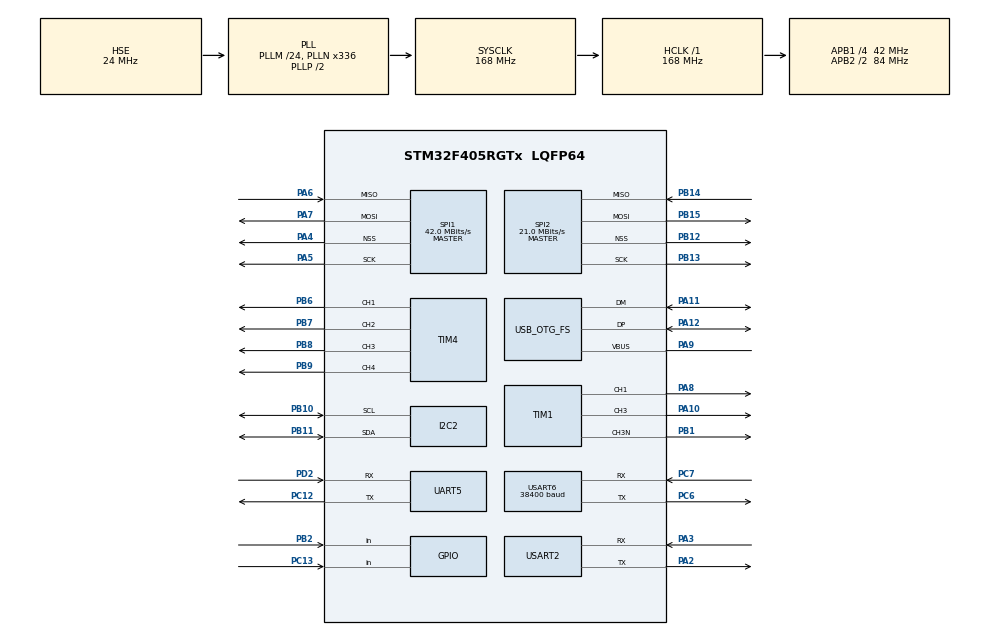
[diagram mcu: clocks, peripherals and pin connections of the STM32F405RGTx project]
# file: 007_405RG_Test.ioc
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Mcu.Family=STM32F4
PA6.Mode=Full_Duplex_Master
USB_DEVICE.CLASS_NAME_FS=CDC
PH0-OSC_IN.Signal=RCC_OSC_IN
SPI2.VirtualNSS=VM_NSSHARD
RCC.CortexFreq_Value=168000000
SPI1.VirtualType=VM_MASTER
SPI2.VirtualType=VM_MASTER
PB10.Mode=I2C
PC12.Signal=UART5_TX
Dma.UART5_RX.0.FIFOMode=DMA_FIFOMODE_DISABLE
PA11.Mode=Device_Only
USB_DEVICE.VirtualMode-CDC_FS=Cdc
PB11.Signal=I2C2_SDA
PB13.Signal=SPI2_SCK
PB15.Signal=SPI2_MOSI
RCC.SYSCLKSource=RCC_SYSCLKSOURCE_PLLCLK
ProjectManager.StackSize=0x400
PA12.Signal=USB_OTG_FS_DP
PA4.Mode=NSS_Signal_Hard_Output
SPI1.Direction=SPI_DIRECTION_2LINES
RCC.HCLKFreq_Value=168000000
RCC.APB2TimFreq_Value=168000000
PB6.Signal=S_TIM4_CH1
PC7.Signal=USART6_RX
Dma.UART5_RX.0.Priority=DMA_PRIORITY_HIGH
SPI1.CalculateBaudRate=42.0 MBits/s
RCC.AHBFreq_Value=168000000
SPI2.BaudRatePrescaler=SPI_BAUDRATEPRESCALER_2
PH0-OSC_IN.Mode=HSE-External-Oscillator
RCC.HSE_VALUE=24000000
TIM4.Channel-PWM\ Generation3\ CH3=TIM_CHANNEL_3
PB2.Signal=GPIO_Input
PC13-ANTI_TAMP.Signal=GPIO_Input
TIM1.Channel-PWM\ Generation1\ CH1=TIM_CHANNEL_1
PA14.Mode=Serial_Wire
PB14.Mode=Full_Duplex_Master
Dma.UART5_RX.0.MemDataAlignment=DMA_MDATAALIGN_BYTE
SPI2.CalculateBaudRate=21.0 MBits/s
SH.S_TIM4_CH2.0=TIM4_CH2,PWM Generation2 CH2
PB7.Signal=S_TIM4_CH2
PA8.Signal=S_TIM1_CH1
SPI1.VirtualNSS=VM_NSSHARD
PH1-OSC_OUT.Mode=HSE-External-Oscillator
Mcu.Package=LQFP64
PB9.Signal=S_TIM4_CH4
PA6.Signal=SPI1_MISO
PB1.Signal=TIM1_CH3N
PB12.Mode=NSS_Signal_Hard_Output
SPI2.Mode=SPI_MODE_MASTER
USART2.VirtualMode=VM_ASYNC
USART6.VirtualMode=VM_ASYNC
NVIC.OTG_FS_IRQn=true\:0\:0\:false\:false\:true\:false\:true
PA10.Signal=S_TIM1_CH3
USB_OTG_FS.VirtualMode=Device_Only
USART6.BaudRate=38400
RCC.APB2CLKDivider=RCC_HCLK_DIV2
SH.S_TIM4_CH1.0=TIM4_CH1,PWM Generation1 CH1
RCC.APB1TimFreq_Value=84000000
NVIC.DMA1_Stream0_IRQn=true\:0\:0\:false\:false\:true\:false\:true
SPI2.Direction=SPI_DIRECTION_2LINES
PB13.Mode=Full_Duplex_Master
TIM4.Channel-PWM\ Generation4\ CH4=TIM_CHANNEL_4
Dma.Request0=UART5_RX
SPI1.BaudRatePrescaler=SPI_BAUDRATEPRESCALER_2
PA3.Signal=USART2_RX
PA5.Mode=Full_Duplex_Master
TIM4.Channel-PWM\ Generation1\ CH1=TIM_CHANNEL_1
Dma.UART5_RX.0.MemInc=DMA_MINC_ENABLE
Dma.UART5_RX.0.Direction=DMA_PERIPH_TO_MEMORY
PA7.Mode=Full_Duplex_Master
USB_DEVICE.VirtualModeFS=Cdc_FS
SH.S_TIM4_CH4.0=TIM4_CH4,PWM Generation4 CH4
PC6.Signal=USART6_TX
UART5.VirtualMode=Asynchronous
RCC.APB1CLKDivider=RCC_HCLK_DIV4
PA13.Signal=SYS_JTMS-SWDIO
PA3.Mode=Asynchronous
PA9.Mode=Activate_VBUS
SH.S_TIM1_CH1.0=TIM1_CH1,PWM Generation1 CH1
PB11.Mode=I2C
ProjectManager.TargetToolchain=STM32CubeIDE
PC6.Mode=Asynchronous
SH.S_TIM4_CH3.0=TIM4_CH3,PWM Generation3 CH3
VP_USB_DEVICE_VS_USB_DEVICE_CDC_FS.Mode=CDC_FS
PA9.Signal=USB_OTG_FS_VBUS
TIM1.Channel-PWM\ Generation3\ CH3\ CH3N=TIM_CHANNEL_3
RCC.LSE_VALUE=32768
PB10.Signal=I2C2_SCL
PB14.Signal=SPI2_MISO
PD2.Mode=Asynchronous
PA5.Signal=SPI1_SCK
Dma.UART5_RX.0.Mode=DMA_CIRCULAR
PC12.Mode=Asynchronous
board=custom
RCC.VCOOutputFreq_Value=336000000
PB15.Mode=Full_Duplex_Master
TIM4.Channel-PWM\ Generation2\ CH2=TIM_CHANNEL_2
RCC.APB2Freq_Value=84000000
SPI1.Mode=SPI_MODE_MASTER
PH1-OSC_OUT.Signal=RCC_OSC_OUT
PA13.Mode=Serial_Wire
Dma.UART5_RX.0.PeriphDataAlignment=DMA_PDATAALIGN_BYTE
Mcu.Name=STM32F405RGTx
PA2.Signal=USART2_TX
RCC.48MHZClocksFreq_Value=48000000
PA4.Signal=SPI1_NSS
RCC.SYSCLKFreq_VALUE=168000000
PA12.Mode=Device_Only
Dma.UART5_RX.0.Instance=DMA1_Stream0
PA11.Signal=USB_OTG_FS_DM
PA14.Signal=SYS_JTCK-SWCLK
ProjectManager.HeapSize=0x200
PB1.Mode=PWM Generation3 CH3 CH3N
SH.S_TIM1_CH3.0=TIM1_CH3,PWM Generation3 CH3 CH3N
RCC.HSI_VALUE=16000000
RCC.PLLQ=7
NVIC.PriorityGroup=NVIC_PRIORITYGROUP_4
RCC.PLLM=24
RCC.PLLN=336
PA2.Mode=Asynchronous
PB8.Signal=S_TIM4_CH3
Dma.UART5_RX.0.PeriphInc=DMA_PINC_DISABLE
PC7.Mode=Asynchronous
PD2.Signal=UART5_RX
RCC.APB1Freq_Value=42000000
PB12.Signal=SPI2_NSS
PA7.Signal=SPI1_MOSI

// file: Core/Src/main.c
/* USER CODE BEGIN Header */
/**
 ******************************************************************************
 * @file           : main.c
 * @brief          : Main program body
 ******************************************************************************
 * @attention
 *
 * <h2><center>&copy; Copyright (c) 2021 STMicroelectronics.
 * All rights reserved.</center></h2>
 *
 * This software component is licensed by ST under BSD 3-Clause license,
 * the "License"; You may not use this file except in compliance with the
 * License. You may obtain a copy of the License at:
 *                        opensource.org/licenses/BSD-3-Clause
 *
 ******************************************************************************
 */
/* USER CODE END Header */
#include "main.h"
#include "dma.h"
#include "i2c.h"
#include "spi.h"
#include "tim.h"
#include "usart.h"
#include "usb_device.h"
#include "gpio.h"

/* USER CODE BEGIN Includes */
#include "fbm.h"
/* USER CODE END Includes */

void SystemClock_Config(void);

/* USER CODE BEGIN 0 */
/* Private variable */
// part of the fbm_320 driver example code
int32_t real_p, real_t, altitude;
float actual_p, actual_t;

void bit_bang() {
	GPIO_InitTypeDef GPIO_InitStruct = {0};
//    GPIO_InitStruct.Pin = GPIO_PIN_12|GPIO_PIN_13|GPIO_PIN_14|GPIO_PIN_15;
    GPIO_InitStruct.Pin = GPIO_PIN_12|GPIO_PIN_13|GPIO_PIN_15;
    GPIO_InitStruct.Mode = GPIO_MODE_OUTPUT_PP;
    GPIO_InitStruct.Pull = GPIO_PULLUP;
    HAL_GPIO_Init(GPIOB, &GPIO_InitStruct);

    GPIO_InitStruct.Pin = GPIO_PIN_14;
    GPIO_InitStruct.Mode = GPIO_MODE_INPUT;
    GPIO_InitStruct.Pull = GPIO_PULLUP;
    HAL_GPIO_Init(GPIOB, &GPIO_InitStruct);

// toggle MISO 50 times
//    HAL_GPIO_Init(GPIOB, &GPIO_InitStruct);
//	HAL_GPIO_WritePin(GPIOB, GPIO_PIN_12, 0); // CSS
//	HAL_GPIO_WritePin(GPIOB, GPIO_PIN_13, 0); // CLK
//	HAL_GPIO_WritePin(GPIOB, GPIO_PIN_14, 0); // MISO
//	HAL_GPIO_WritePin(GPIOB, GPIO_PIN_15, 0); // MOSI
//	HAL_Delay(3000);
//
//	HAL_GPIO_WritePin(GPIOB, GPIO_PIN_12, 1); // CSS
//	HAL_GPIO_WritePin(GPIOB, GPIO_PIN_13, 1); // CLK
//	HAL_GPIO_WritePin(GPIOB, GPIO_PIN_14, 1); // MISO
//	HAL_GPIO_WritePin(GPIOB, GPIO_PIN_15, 1); // MOSI
//	HAL_Delay(4);
//
//	HAL_GPIO_WritePin(GPIOB, GPIO_PIN_15, 0); // MOSI
//	HAL_GPIO_WritePin(GPIOB, GPIO_PIN_14, 0); // MISO
//	HAL_Delay(1);
//
//	HAL_GPIO_WritePin(GPIOB, GPIO_PIN_15, 1); // MOSI
//	HAL_Delay(1);
//
//	for (int i=0; i<50; i++) {
//		HAL_GPIO_WritePin(GPIOB, GPIO_PIN_14, 1); // MISO
//		HAL_Delay(50);
//		HAL_GPIO_WritePin(GPIOB, GPIO_PIN_14, 0); // MISO
//		HAL_Delay(50);
//	}
//	HAL_Delay(144);

	HAL_GPIO_WritePin(GPIOB, GPIO_PIN_13, 0); // CLK
	HAL_GPIO_WritePin(GPIOB, GPIO_PIN_15, 0); // MOSI
	HAL_GPIO_WritePin(GPIOB, GPIO_PIN_12, 1); // CSS

	HAL_Delay(1000);

	uint8_t _data_tx[] = { 0x00, 0x00, 0x81 };
	uint8_t _byte = 0;
	uint8_t _bit;

	HAL_GPIO_WritePin(GPIOB, GPIO_PIN_12, 0); // CSS

	for (uint8_t _byte_index = 0; _byte_index < 3; _byte_index++) {
		_byte = _data_tx[_byte_index];

		for (uint8_t _bit_index = 0; _bit_index < 8; _bit_index++) {
			HAL_Delay(1);
			_bit = (_byte >> (7 - _bit_index)) & 0x01;
			if (_bit == 1) {
				HAL_GPIO_WritePin(GPIOB, GPIO_PIN_15, 1); // MOSI
			} else {
				HAL_GPIO_WritePin(GPIOB, GPIO_PIN_15, 0); // MOSI
			}
			HAL_Delay(1);
			HAL_GPIO_WritePin(GPIOB, GPIO_PIN_13, 1); // CLK
			HAL_Delay(1);
			HAL_GPIO_WritePin(GPIOB, GPIO_PIN_13, 0); // CLK
		}
	}
	HAL_Delay(1);
	HAL_GPIO_WritePin(GPIOB, GPIO_PIN_12, 0); // CSS

	HAL_Delay(3000);

	_data_tx[0] = 0x80;
	_data_tx[1] = 0x6B;
	_data_tx[2] = 0x00;

	while (1) {

		HAL_GPIO_WritePin(GPIOB, GPIO_PIN_12, 0); // CSS

		for (uint8_t _byte_index = 0; _byte_index < 3; _byte_index++) {
			_byte = _data_tx[_byte_index];
			for (uint8_t _bit_index = 0; _bit_index < 8; _bit_index++) {
				HAL_Delay(1);
				_bit = (_byte >> (7 - _bit_index)) & 0x01;
				if (_bit == 1) {
					HAL_GPIO_WritePin(GPIOB, GPIO_PIN_15, 1); // MOSI
				} else {
					HAL_GPIO_WritePin(GPIOB, GPIO_PIN_15, 0); // MOSI
				}
				HAL_Delay(1);
				HAL_GPIO_WritePin(GPIOB, GPIO_PIN_13, 1); // CLK
				HAL_Delay(1);
				HAL_GPIO_WritePin(GPIOB, GPIO_PIN_13, 0); // CLK
			}
		}
		HAL_Delay(1);
		HAL_GPIO_WritePin(GPIOB, GPIO_PIN_12, 0); // CSS

		HAL_Delay(1000);
	}
} // void bit_bang() {

void do_hal() {
	uint8_t _data_tx[3];
	uint8_t _data_rx = 0;

	HAL_Delay(1000);

	_data_tx[0] = 0x00 | 0x00;
	_data_tx[1] = 0x00;
	_data_tx[2] = 0x81;

//	HAL_GPIO_WritePin(GPIOB, GPIO_PIN_12, 0); // CSS
//	HAL_Delay(1);
//	for (uint8_t _byte_index = 0; _byte_index < 3; _byte_index++) {
//		HAL_SPI_Transmit(&hspi2, &_data_tx[_byte_index], 1, 1000);
//	}
	HAL_SPI_Transmit(&hspi2, _data_tx, 3, 1000);

//	HAL_Delay(1);
//	HAL_GPIO_WritePin(GPIOB, GPIO_PIN_12, 1); // CSS

	HAL_Delay(1000);

	_data_tx[0] = 0x80 | 0x00;
	_data_tx[1] = 0x6B;

	while(1) {
//		HAL_GPIO_WritePin(GPIOB, GPIO_PIN_12, 0); // CSS
//		HAL_Delay(1);

//		for (uint8_t _byte_index = 0; _byte_index<2; _byte_index++) {
//			HAL_SPI_Transmit(&hspi2, &_data_tx[_byte_index], 1, 1000);
//			HAL_Delay(1);
//		}
		HAL_SPI_Transmit(&hspi2, _data_tx, 2, 1000);

		HAL_SPI_Receive(&hspi2, &_data_rx, 1, 100);

//		HAL_Delay(1);
//		HAL_GPIO_WritePin(GPIOB, GPIO_PIN_12, 1); // CSS

		HAL_Delay(1000);
	}
} // void do_hal() {

void read_pressure() {
	HAL_StatusTypeDef _status = HAL_OK;
	uint8_t _data_tx[3];
	uint8_t _data_rx[3];

	_data_tx[0] = 0x00;
	_data_tx[1] = 0xf4;
	_data_tx[2] = 0xf4;

	HAL_GPIO_WritePin(GPIOB, GPIO_PIN_12, 0); // CSS
	HAL_Delay(1);
	_status = HAL_SPI_Transmit(&hspi2, _data_tx, 3, 1000);
	HAL_Delay(1);
	HAL_GPIO_WritePin(GPIOB, GPIO_PIN_12, 1); // CSS

	HAL_Delay(7);

	_data_tx[0] = 0xc0;
	_data_tx[1] = 0xf8;

	HAL_GPIO_WritePin(GPIOB, GPIO_PIN_12, 0); // CSS
	HAL_Delay(1);

	_status = HAL_SPI_Transmit(&hspi2, _data_tx, 2, 1000);

	_status = HAL_SPI_Receive(&hspi2, _data_rx, 3, 1000);

	HAL_Delay(1);
	HAL_GPIO_WritePin(GPIOB, GPIO_PIN_12, 1); // CSS
} // void read_pressure() {

void read_temperature() {
	HAL_StatusTypeDef _status = HAL_OK;
	uint8_t _data_tx[3];
	uint8_t _data_rx[3];

	_data_tx[0] = 0x00;
	_data_tx[1] = 0xf4;
	_data_tx[2] = 0x2e;

	HAL_GPIO_WritePin(GPIOB, GPIO_PIN_12, 0); // CSS
	HAL_Delay(1);

	_status = HAL_SPI_Transmit(&hspi2, _data_tx, 3, 1000);

	HAL_Delay(1);
	HAL_GPIO_WritePin(GPIOB, GPIO_PIN_12, 1); // CSS

//	HAL_Delay(2);

	_data_tx[0] = 0xc0;
	_data_tx[1] = 0xf8;

	HAL_GPIO_WritePin(GPIOB, GPIO_PIN_12, 0); // CSS
	HAL_Delay(1);

	_status = HAL_SPI_Transmit(&hspi2, _data_tx, 2, 1000);

	_status = HAL_SPI_Receive(&hspi2, _data_rx, 3, 1000);

	HAL_Delay(1);
	HAL_GPIO_WritePin(GPIOB, GPIO_PIN_12, 1); // CSS
} // void read_temperature() {

void spi_bang() {
	HAL_StatusTypeDef _status = HAL_OK;
	uint8_t _data_tx[3];
	uint8_t _data_rx[3];

	_data_tx[0] = 0x00;
	_data_tx[1] = 0x00;
	_data_tx[2] = 0x81;

	HAL_GPIO_WritePin(GPIOB, GPIO_PIN_12, 0); // CSS
	HAL_Delay(1);
	_status = HAL_SPI_Transmit(&hspi2, _data_tx, 3, 1000);
	HAL_Delay(1);
	HAL_GPIO_WritePin(GPIOB, GPIO_PIN_12, 1); // CSS

	HAL_Delay(200);

//	_data_tx[0] = 0x00;
//	_data_tx[1] = 0xa6;
//	_data_tx[2] = 0x7d; // 0xa9;
//
//	HAL_GPIO_WritePin(GPIOB, GPIO_PIN_12, 0); // CSS
//	HAL_Delay(1);
//	_status = HAL_SPI_Transmit(&hspi2, _data_tx, 3, 1000);
//	HAL_Delay(1);
//	HAL_GPIO_WritePin(GPIOB, GPIO_PIN_12, 1); // CSS
//
//	HAL_Delay(200);

	_data_tx[0] = 0x80;
	_data_tx[1] = 0xa6;
	uint8_t _byte_tx = 0;

	HAL_GPIO_WritePin(GPIOB, GPIO_PIN_12, 0); // CSS
	HAL_Delay(1);

	_status = HAL_SPI_Transmit(&hspi2, _data_tx, 2, 1000);

	_status = HAL_SPI_Receive(&hspi2, &_byte_tx, 1, 1000);

	HAL_Delay(1);
	HAL_GPIO_WritePin(GPIOB, GPIO_PIN_12, 1); // CSS

	_byte_tx &= ~(FBM320_P_CONFIG_REG_GAIN_MAK);
	_byte_tx |= FBM320_P_CONFIG_REG_GAIN_X32;

	_status = 0;

	while(1) {
		read_pressure();

		read_temperature();
	}
} // void bit_bang() {

/* USER CODE END 0 */

int main(void) {

	/* MCU Configuration--------------------------------------------------------*/

	/* Reset of all peripherals, Initializes the Flash interface and the Systick. */
	HAL_Init();

	/* Configure the system clock */
	SystemClock_Config();

	/* Initialize all configured peripherals */
	MX_GPIO_Init();

	MX_DMA_Init();

	MX_I2C2_Init();

	MX_SPI1_Init();
	MX_SPI2_Init();

	MX_TIM1_Init();
	MX_TIM4_Init();

	MX_UART5_Init();
	MX_USART2_UART_Init();
	MX_USART6_UART_Init();

	MX_USB_DEVICE_Init();

	/* USER CODE BEGIN 2 */

//	bit_bang();			// simple and pure, needs "MX_SPI1_Init() to be commented out above

//	spi_bang();		// more to the recorded comms
//	do_hal();			// do it all with HAL

	/* USER CODE END 2 */

	/* Infinite loop */
	/* USER CODE BEGIN WHILE */

	fbm320_init(); //fbm320 initiation
	HAL_Delay(1);

	while (1) {

		fbm320_update_data(); //Updating fbm320 data
		if (fbm320_update_rdy) {
			actual_p = fbm320_read_pressure();//If you need the pressure value read is in uint of Pa, use this function.
			actual_t = fbm320_read_temperature();//If you need the temperature value read is in unit of degree Celsius, use this function.

			/* This function read pressure and temperature values. Pressure uint:0.125Pa, Temperature unit:0.01 degree Celsius */
			fbm320_read_data(&real_p, &real_t);
			altitude = fbm325_get_altitude(real_p);			//This function converts pressure value to altitude in unit of millimeter(mm).
			fbm320_update_rdy = 0;
		}

		HAL_Delay(1);

		/* USER CODE END WHILE */

	}
}

void SystemClock_Config(void) {
	RCC_OscInitTypeDef RCC_OscInitStruct = { 0 };
	RCC_ClkInitTypeDef RCC_ClkInitStruct = { 0 };

	/** Configure the main internal regulator output voltage
	 */
	__HAL_RCC_PWR_CLK_ENABLE();
	__HAL_PWR_VOLTAGESCALING_CONFIG(PWR_REGULATOR_VOLTAGE_SCALE1);
	/** Initializes the RCC Oscillators according to the specified parameters
	 * in the RCC_OscInitTypeDef structure.
	 */
	RCC_OscInitStruct.OscillatorType = RCC_OSCILLATORTYPE_HSE;
	RCC_OscInitStruct.HSEState = RCC_HSE_ON;
	RCC_OscInitStruct.PLL.PLLState = RCC_PLL_ON;
	RCC_OscInitStruct.PLL.PLLSource = RCC_PLLSOURCE_HSE;
	RCC_OscInitStruct.PLL.PLLM = 24;
	RCC_OscInitStruct.PLL.PLLN = 336;
	RCC_OscInitStruct.PLL.PLLP = RCC_PLLP_DIV2;
	RCC_OscInitStruct.PLL.PLLQ = 7;
	if (HAL_RCC_OscConfig(&RCC_OscInitStruct) != HAL_OK) {
		Error_Handler();
	}
	/** Initializes the CPU, AHB and APB buses clocks
	 */
	RCC_ClkInitStruct.ClockType = RCC_CLOCKTYPE_HCLK | RCC_CLOCKTYPE_SYSCLK | RCC_CLOCKTYPE_PCLK1 | RCC_CLOCKTYPE_PCLK2;
	RCC_ClkInitStruct.SYSCLKSource = RCC_SYSCLKSOURCE_PLLCLK;
	RCC_ClkInitStruct.AHBCLKDivider = RCC_SYSCLK_DIV1;
	RCC_ClkInitStruct.APB1CLKDivider = RCC_HCLK_DIV4;
	RCC_ClkInitStruct.APB2CLKDivider = RCC_HCLK_DIV2;

	if (HAL_RCC_ClockConfig(&RCC_ClkInitStruct, FLASH_LATENCY_5) != HAL_OK) {
		Error_Handler();
	}
}

void Error_Handler(void) {
	__disable_irq();
	while (1) {
	}
}

/************************ (C) COPYRIGHT STMicroelectronics *****END OF FILE****/
